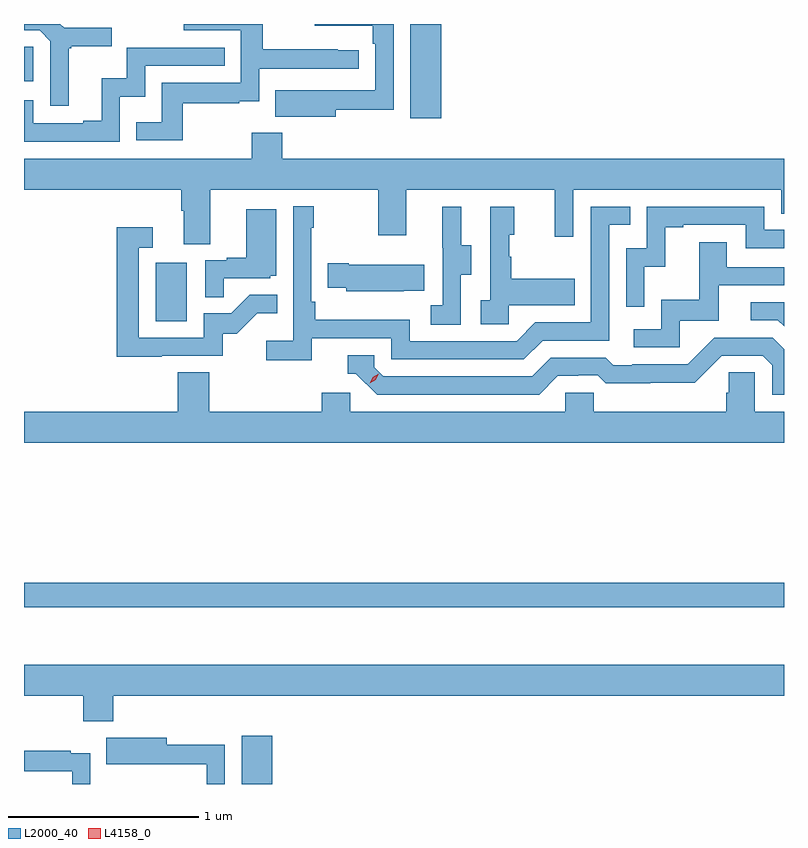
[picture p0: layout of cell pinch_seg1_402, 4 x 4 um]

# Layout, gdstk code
import gdstk
lib = gdstk.Library(unit=1e-6, precision=1e-09)
def R(c, l, rs):  # rectangles x0, y0, x1, y1
    for r in rs: c.add(gdstk.rectangle(r[:2], r[2:], *l))
def P(c, l, *ps):  # polygons
    for p in ps: c.add(gdstk.Polygon(p, *l))
L2000_40 = (2000, 40)
L4158_0 = (4158, 0)

pinch_seg1_402 = lib.new_cell('pinch_seg1_402')
R(pinch_seg1_402, L2000_40, [(925.457,531.288,925.618,531.541), (924.311,532.218,928.311,532.346), (925.004,533.724,925.168,534.031), (926.345,534.792,926.506,535.288), (924.311,534.987,924.36,535.167)])
P(pinch_seg1_402, L2000_40, [(925.951,534.838),(926.256,534.838),(926.256,535.288),(925.842,535.288),(925.842,535.28),(926.147,535.28),(926.147,535.184),(926.16,535.184),(926.16,534.939),(925.847,534.939),(925.847,534.94),(925.633,534.94),(925.633,534.8),(925.951,534.8)],
  [(924.547,535.161),(924.559,535.161),(924.559,535.172),(924.772,535.172),(924.772,535.269),(924.522,535.269),(924.503,535.288),(924.311,535.288),(924.311,535.254),(924.393,535.254),(924.45,535.197),(924.45,534.858),(924.547,534.858)],
  [(925.147,534.87),(925.445,534.87),(925.445,534.881),(925.548,534.881),(925.548,535.053),(926.074,535.053),(926.074,535.149),(925.961,535.149),(925.961,535.154),(925.568,535.154),(925.568,535.288),(925.151,535.288),(925.151,535.254),(925.452,535.254),(925.452,534.978),(925.036,534.978),(925.036,534.772),(924.901,534.772),(924.901,534.675),(925.147,534.675)],
  [(924.816,534.905),(924.948,534.905),(924.948,535.068),(925.367,535.068),(925.367,535.164),(924.852,535.164),(924.852,535.003),(924.719,535.003),(924.719,534.778),(924.623,534.778),(924.623,534.765),(924.36,534.765),(924.36,534.888),(924.311,534.888),(924.311,534.669),(924.816,534.669)],
  [(925.291,534.416),(926.176,534.416),(926.176,534.177),(926.323,534.177),(926.323,534.416),(927.104,534.416),(927.104,534.168),(927.201,534.168),(927.201,534.416),(928.296,534.416),(928.296,534.289),(928.311,534.289),(928.311,534.58),(925.67,534.58),(925.67,534.715),(925.51,534.715),(925.51,534.58),(924.311,534.58),(924.311,534.416),(925.139,534.416),(925.139,534.304),(925.151,534.304),(925.151,534.13),(925.291,534.13)],
  [(925.826,533.634),(926.244,533.634),(926.244,533.523),(926.941,533.523),(927.04,533.622),(927.39,533.622),(927.39,534.231),(927.503,534.231),(927.503,534.327),(927.294,534.327),(927.294,533.718),(927.003,533.718),(926.904,533.619),(926.34,533.619),(926.34,533.731),(925.844,533.731),(925.844,533.827),(925.824,533.827),(925.824,534.215),(925.837,534.215),(925.837,534.328),(925.728,534.328),(925.728,533.62),(925.587,533.62),(925.587,533.518),(925.826,533.518)],
  [(927.576,534.011),(927.686,534.011),(927.686,534.219),(927.781,534.219),(927.781,534.231),(928.11,534.231),(928.11,534.108),(928.311,534.108),(928.311,534.204),(928.206,534.204),(928.206,534.327),(927.588,534.327),(927.588,534.108),(927.48,534.108),(927.48,533.799),(927.576,533.799)],
  [(926.862,533.807),(927.209,533.807),(927.209,533.947),(926.875,533.947),(926.875,534.062),(926.865,534.062),(926.865,534.18),(926.89,534.18),(926.89,534.325),(926.766,534.325),(926.766,533.834),(926.715,533.834),(926.715,533.709),(926.862,533.709)],
  [(926.61,533.968),(926.665,533.968),(926.665,534.123),(926.611,534.123),(926.611,534.325),(926.513,534.325),(926.513,534.111),(926.514,534.111),(926.514,533.807),(926.451,533.807),(926.451,533.704),(926.61,533.704)],
  [(925.361,533.949),(925.608,533.949),(925.608,533.964),(925.639,533.964),(925.639,534.313),(925.481,534.313),(925.481,534.058),(925.377,534.058),(925.377,534.045),(925.266,534.045),(925.266,533.851),(925.361,533.851)],
  [(925.037,533.541),(925.356,533.541),(925.356,533.658),(925.432,533.658),(925.539,533.765),(925.643,533.765),(925.643,533.864),(925.499,533.864),(925.401,533.766),(925.257,533.766),(925.257,533.637),(924.915,533.637),(924.915,534.111),(924.988,534.111),(924.988,534.217),(924.799,534.217),(924.799,533.536),(925.037,533.536)],
  [(927.762,533.727),(927.967,533.727),(927.967,533.913),(928.311,533.913),(928.311,534.009),(928.009,534.009),(928.009,534.139),(927.865,534.139),(927.865,533.836),(927.666,533.836),(927.666,533.682),(927.519,533.682),(927.519,533.586),(927.762,533.586)],
  [(926.309,533.885),(926.417,533.885),(926.417,534.022),(926.02,534.022),(926.02,534.03),(925.909,534.03),(925.909,533.9),(926.007,533.9),(926.007,533.882),(926.309,533.882)],
  [(928.311,533.823),(928.137,533.823),(928.137,533.73),(928.278,533.73),(928.311,533.697)],
  [(927.121,533.436),(927.228,533.436),(927.228,533.439),(927.331,533.439),(927.373,533.397),(927.606,533.397),(927.606,533.399),(927.842,533.399),(927.984,533.541),(928.2,533.541),(928.248,533.493),(928.248,533.337),(928.311,533.337),(928.311,533.577),(928.251,533.637),(927.945,533.637),(927.804,533.496),(927.511,533.496),(927.511,533.493),(927.412,533.493),(927.373,533.532),(927.084,533.532),(926.985,533.433),(926.202,533.433),(926.154,533.481),(926.154,533.544),(926.015,533.544),(926.015,533.448),(926.058,533.448),(926.169,533.337),(927.022,533.337)],
  [(928.311,533.248),(928.158,533.248),(928.158,533.456),(928.021,533.456),(928.021,533.346),(928.007,533.346),(928.007,533.248),(927.309,533.248),(927.309,533.346),(927.159,533.346),(927.159,533.248),(926.028,533.248),(926.028,533.346),(925.877,533.346),(925.877,533.248),(925.286,533.248),(925.286,533.456),(925.121,533.456),(925.121,533.248),(924.311,533.248),(924.311,533.084),(928.311,533.084)],
  [(924.782,531.752),(928.311,531.752),(928.311,531.916),(924.311,531.916),(924.311,531.752),(924.622,531.752),(924.622,531.617),(924.782,531.617)],
  [(925.368,531.494),(925.063,531.494),(925.063,531.532),(924.745,531.532),(924.745,531.392),(924.959,531.392),(924.959,531.393),(925.272,531.393),(925.272,531.288),(925.368,531.288)],
  [(924.66,531.451),(924.557,531.451),(924.557,531.463),(924.311,531.463),(924.311,531.354),(924.564,531.354),(924.564,531.288),(924.66,531.288)])
P(pinch_seg1_402, L4158_0, [(926.13,533.396),(926.13,533.396),(926.146,533.428),(926.177,533.448),(926.177,533.448),(926.177,533.447),(926.161,533.415),(926.13,533.396)])

lib.write_gds('pinch_seg1_402.gds')
